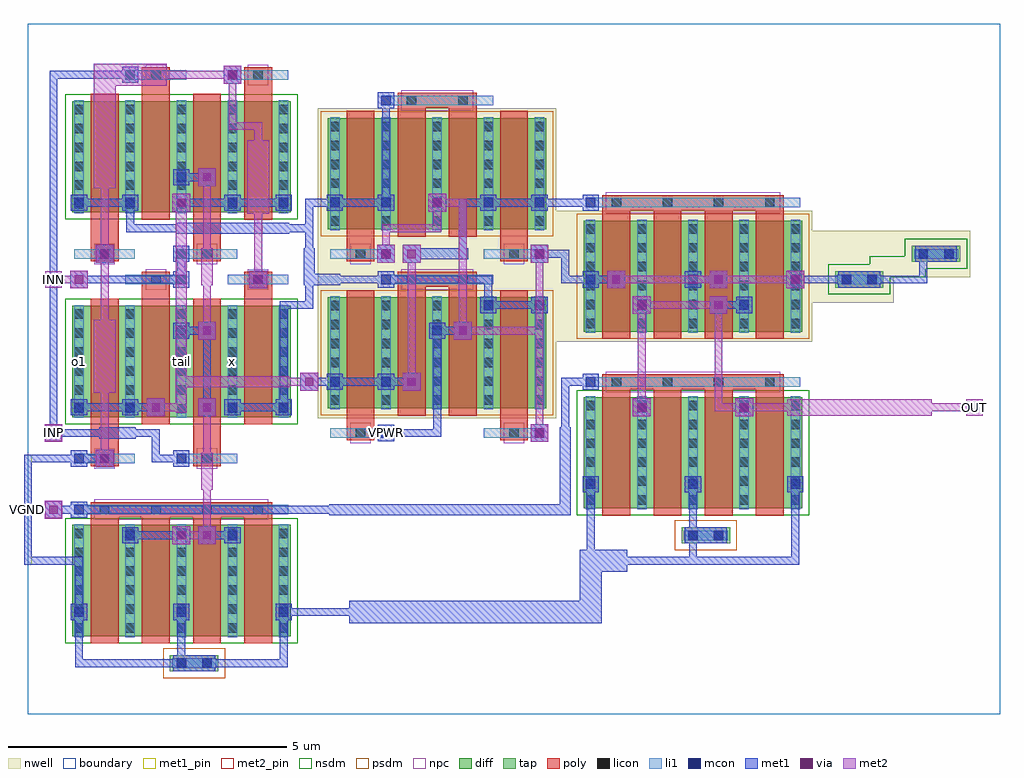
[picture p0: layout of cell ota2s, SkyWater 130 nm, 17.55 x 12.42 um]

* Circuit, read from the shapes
.subckt ota2s INN INP OUT VBN VGND VPWR o1 tail x
XM1 tail VBN VGND VGND sky130_fd_pr__nfet_01v8 w=2 l=0.5 m=4
XM2 o1 VGND o1 VGND sky130_fd_pr__nfet_01v8 w=2 l=0.5 m=2
XM3 x VGND x VGND sky130_fd_pr__nfet_01v8 w=2 l=0.5 m=2
XM4 tail INN o1 VGND sky130_fd_pr__nfet_01v8 w=2 l=0.5 m=2
XM5 tail INP x VGND sky130_fd_pr__nfet_01v8 w=2 l=0.5 m=2
XM6 OUT VBN VGND VGND sky130_fd_pr__nfet_01v8 w=2 l=0.5 m=4
XM7 o1 VPWR o1 VPWR sky130_fd_pr__pfet_01v8 w=2 l=0.5 m=2
XM8 x VPWR x VPWR sky130_fd_pr__pfet_01v8 w=2 l=0.5 m=2
XM9 VPWR x o1 VPWR sky130_fd_pr__pfet_01v8 w=2 l=0.5 m=2
XM10 VPWR x x VPWR sky130_fd_pr__pfet_01v8 w=2 l=0.5 m=2
XM11 OUT o1 VPWR VPWR sky130_fd_pr__pfet_01v8 w=2 l=0.5 m=4
.ends

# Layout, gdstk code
import gdstk
lib = gdstk.Library(unit=1e-6, precision=1e-09)
def R(c, l, rs):  # rectangles x0, y0, x1, y1
    for r in rs: c.add(gdstk.rectangle(r[:2], r[2:], *l))
def A(c, l, x, y, w, h, nx, ny, dx, dy):  # array of equal rectangles
    R(c, l, [(x+i*dx, y+j*dy, x+i*dx+w, y+j*dy+h) for i in range(nx) for j in range(ny)])
nwell = (64, 20)
diff = (65, 20)
tap = (65, 44)
poly = (66, 20)
licon = (66, 44)
li1 = (67, 20)
mcon = (67, 44)
met1_pin = (68, 16)
met1 = (68, 20)
via = (68, 44)
met2_pin = (69, 16)
met2 = (69, 20)
nsdm = (93, 44)
psdm = (94, 20)
npc = (95, 20)
boundary = (235, 4)

ota2s = lib.new_cell('ota2s')
R(ota2s, nwell, [(5.215,5.32,9.505,6.7), (5.215,6.7,14.105,7.4), (5.215,7.4,15.565,7.86), (5.215,7.86,16.945,8.7), (5.215,8.7,14.105,9.06), (5.215,9.06,9.505,10.9)])
R(ota2s, diff, [(0.795,1.405,4.725,3.405), (9.995,3.705,13.925,5.705), (0.795,5.345,4.725,7.345), (5.395,5.5,9.325,7.5), (9.995,6.88,13.925,8.88), (5.395,8.72,9.325,10.72), (0.795,9.025,4.725,11.025)])
R(ota2s, tap, [(2.555,0.775,3.425,1.065), (11.755,3.075,12.625,3.365), (14.515,7.675,15.385,7.965), (15.895,8.135,16.765,8.425)])
A(ota2s, poly, 1.13, 1.275, 0.5, 2.405, 4, 1, 0.92, 0)
A(ota2s, poly, 10.33, 3.575, 0.5, 2.405, 4, 1, 0.92, 0)
A(ota2s, poly, 10.33, 6.75, 0.5, 2.45, 4, 1, 0.92, 0)
A(ota2s, poly, 2.97, 8.145, 0.5, 0.27, 3, 1, 2.76, 0)
R(ota2s, poly, [(1.13,3.545,4.39,3.815), (1.13,4.465,1.63,4.735), (2.97,4.465,3.47,4.735), (1.13,4.6,1.63,7.475), (2.97,4.6,3.47,7.475), (5.73,4.925,6.23,5.195), (8.49,4.925,8.99,5.195), (5.73,5.06,6.23,7.63), (8.49,5.06,8.99,7.63), (2.05,5.215,2.55,7.82), (3.89,5.215,4.39,7.82), (6.65,5.37,7.15,7.82), (7.57,5.37,8.07,7.82), (10.33,5.845,13.59,6.115), (2.05,7.685,2.55,7.955), (3.89,7.685,4.39,7.955), (6.65,7.685,8.07,7.955), (1.13,8.145,1.63,8.415), (1.13,8.28,1.63,11.155), (2.97,8.28,3.47,11.155), (5.73,8.28,6.23,10.85), (8.49,8.28,8.99,10.85), (6.65,8.59,7.15,11.04), (7.57,8.59,8.07,11.04), (2.05,8.895,2.55,11.5), (3.89,8.895,4.39,11.5), (10.33,9.065,13.59,9.335), (6.65,10.905,8.07,11.175), (2.05,11.365,2.55,11.635), (3.89,11.365,4.39,11.635)])
A(ota2s, licon, 0.835, 1.47, 0.17, 0.17, 5, 6, 0.92, 0.34)
A(ota2s, licon, 1.295, 3.595, 0.17, 0.17, 4, 1, 0.92, 0)
A(ota2s, licon, 10.035, 3.77, 0.17, 0.17, 5, 6, 0.92, 0.34)
A(ota2s, licon, 0.835, 5.41, 0.17, 0.17, 5, 6, 0.92, 0.34)
A(ota2s, licon, 5.435, 5.565, 0.17, 0.17, 5, 6, 0.92, 0.34)
A(ota2s, licon, 10.495, 5.895, 0.17, 0.17, 4, 2, 0.92, 3.22)
A(ota2s, licon, 10.035, 6.945, 0.17, 0.17, 5, 6, 0.92, 0.34)
A(ota2s, licon, 3.135, 8.195, 0.17, 0.17, 3, 1, 2.76, 0)
A(ota2s, licon, 5.435, 8.785, 0.17, 0.17, 5, 6, 0.92, 0.34)
A(ota2s, licon, 0.835, 9.09, 0.17, 0.17, 5, 6, 0.92, 0.34)
R(ota2s, licon, [(2.675,0.835,2.845,1.005), (3.135,0.835,3.305,1.005), (11.875,3.135,12.045,3.305), (12.335,3.135,12.505,3.305), (1.295,4.515,1.465,4.685), (3.135,4.515,3.305,4.685), (5.895,4.975,6.065,5.145), (8.655,4.975,8.825,5.145), (2.215,7.735,2.385,7.905), (4.055,7.735,4.225,7.905), (6.815,7.735,6.985,7.905), (7.735,7.735,7.905,7.905), (14.635,7.735,14.805,7.905), (15.095,7.735,15.265,7.905), (1.295,8.195,1.465,8.365), (16.015,8.195,16.185,8.365), (16.475,8.195,16.645,8.365), (6.815,10.955,6.985,11.125), (7.735,10.955,7.905,11.125), (2.215,11.415,2.385,11.585), (4.055,11.415,4.225,11.585)])
A(ota2s, li1, 0.835, 1.39, 0.17, 2.03, 5, 2, 0.92, 3.94)
A(ota2s, li1, 10.035, 3.69, 0.17, 2.03, 5, 2, 0.92, 3.175)
A(ota2s, li1, 5.435, 5.485, 0.17, 2.03, 5, 2, 0.92, 3.22)
A(ota2s, li1, 2.675, 8.195, 1.09, 0.17, 3, 1, 2.76, 0)
A(ota2s, li1, 0.835, 9.01, 0.17, 2.03, 5, 1, 0.92, 0)
R(ota2s, li1, [(2.595,0.835,3.385,1.005), (11.795,3.135,12.585,3.305), (0.835,3.595,4.685,3.765), (0.835,4.515,1.925,4.685), (2.675,4.515,3.765,4.685), (5.435,4.975,6.525,5.145), (8.195,4.975,9.285,5.145), (10.035,5.895,13.885,6.065), (1.755,7.735,2.845,7.905), (3.595,7.735,4.685,7.905), (6.355,7.735,8.365,7.905), (14.555,7.735,15.345,7.905), (0.835,8.195,1.925,8.365), (15.935,8.195,16.725,8.365), (10.035,9.115,13.885,9.285), (6.355,10.955,8.365,11.125), (1.755,11.415,2.845,11.585), (3.595,11.415,4.685,11.585)])
A(ota2s, mcon, 0.835, 1.755, 0.17, 0.17, 3, 1, 1.84, 0)
A(ota2s, mcon, 0.835, 3.595, 0.17, 0.17, 1, 3, 0, 0.92)
A(ota2s, mcon, 10.035, 4.055, 0.17, 0.17, 3, 2, 1.84, 3.68)
A(ota2s, mcon, 9.115, 7.275, 0.17, 0.17, 3, 1, 1.84, 0)
A(ota2s, mcon, 3.595, 9.115, 0.17, 0.17, 8, 1, 0.92, 0)
R(ota2s, mcon, [(2.675,0.835,2.845,1.005), (3.135,0.835,3.305,1.005), (1.755,3.135,1.925,3.305), (3.595,3.135,3.765,3.305), (11.875,3.135,12.045,3.305), (12.335,3.135,12.505,3.305), (2.675,4.515,2.845,4.685), (6.355,4.975,6.525,5.145), (9.115,4.975,9.285,5.145), (1.755,5.435,1.925,5.605), (3.595,5.435,3.765,5.605), (4.515,5.435,4.685,5.605), (10.955,5.435,11.125,5.605), (12.795,5.435,12.965,5.605), (5.435,5.895,5.605,6.065), (6.355,5.895,6.525,6.065), (10.035,5.895,10.205,6.065), (2.675,6.815,2.845,6.985), (7.275,6.815,7.445,6.985), (8.195,7.275,8.365,7.445), (2.675,7.735,2.845,7.905), (4.055,7.735,4.225,7.905), (6.355,7.735,6.525,7.905), (14.635,7.735,14.805,7.905), (15.095,7.735,15.265,7.905), (1.295,8.195,1.465,8.365), (2.675,8.195,2.845,8.365), (6.355,8.195,6.525,8.365), (9.115,8.195,9.285,8.365), (16.015,8.195,16.185,8.365), (16.475,8.195,16.645,8.365), (0.835,9.115,1.005,9.285), (1.755,9.115,1.925,9.285), (2.675,9.575,2.845,9.745), (6.355,10.955,6.525,11.125), (1.755,11.415,1.925,11.585), (3.595,11.415,3.765,11.585)])
R(ota2s, met1_pin, [(-0.07,2.69,0.07,4.67), (6.295,4.915,6.585,5.205)])
A(ota2s, met1, 0.85, 0.85, 0.14, 1.06, 3, 1, 1.84, 0)
A(ota2s, met1, 0.775, 1.695, 0.29, 0.29, 3, 1, 1.84, 0)
A(ota2s, met1, 0.775, 3.535, 0.29, 0.29, 1, 3, 0, 0.92)
A(ota2s, met1, 9.975, 3.995, 0.29, 0.29, 3, 2, 1.84, 3.68)
A(ota2s, met1, 9.055, 7.215, 0.29, 0.29, 3, 1, 1.84, 0)
A(ota2s, met1, 3.535, 9.055, 0.29, 0.29, 8, 1, 0.92, 0)
R(ota2s, met1, [(2.615,0.775,3.365,1.065), (0.85,0.85,2.83,0.99), (2.69,0.85,4.67,0.99), (2.69,0.85,2.83,0.99), (5.78,1.64,10.32,2.04), (9.92,1.64,10.32,2.96), (0.85,1.77,0.99,2.83), (4.53,1.77,6.05,1.91), (9.92,2.56,10.78,2.96), (-0.07,2.69,0.07,4.67), (-0.07,2.69,0.99,2.83), (10.05,2.69,10.19,4.21), (10.51,2.69,12.03,2.83), (11.89,2.69,13.87,2.83), (11.89,2.69,12.03,3.29), (13.73,2.69,13.87,4.21), (2.6,3.06,2.92,3.38), (3.06,3.06,3.38,3.38), (1.695,3.075,1.985,3.365), (3.535,3.075,3.825,3.365), (11.815,3.075,12.565,3.365), (1.77,3.15,2.83,3.29), (3.15,3.15,3.75,3.29), (11.89,3.15,12.03,3.29), (11.89,3.15,12.03,4.21), (0.3,3.52,0.62,3.84), (5.42,3.58,9.76,3.78), (9.56,3.58,9.76,5.16), (0.39,3.61,0.99,3.75), (0.85,3.61,5.59,3.75), (1.22,4.44,1.54,4.76), (2.615,4.455,2.905,4.745), (-0.07,4.53,0.99,4.67), (0.85,4.53,1.45,4.67), (2.23,4.53,2.37,5.13), (2.23,4.53,2.83,4.67), (0.3,4.9,0.62,5.22), (9.04,4.9,9.36,5.22), (6.295,4.915,6.585,5.205), (9.055,4.915,9.345,5.205), (1.28,4.96,1.94,5.16), (0.39,4.99,0.53,11.57), (0.39,4.99,1.45,5.13), (1.77,4.99,2.37,5.13), (6.37,4.99,7.43,5.13), (7.29,4.99,7.43,6.97), (9.59,4.99,9.73,6.05), (2.14,5.36,2.46,5.68), (3.06,5.36,3.38,5.68), (10.88,5.36,11.2,5.68), (12.72,5.36,13.04,5.68), (1.695,5.375,1.985,5.665), (3.535,5.375,3.825,5.665), (4.455,5.375,4.745,5.665), (10.895,5.375,11.185,5.665), (12.735,5.375,13.025,5.665), (0.85,5.45,1.91,5.59), (1.77,5.45,2.37,5.59), (3.15,5.45,3.29,6.97), (3.61,5.45,4.67,5.59), (4.53,5.45,4.67,7.43), (4.9,5.82,5.22,6.14), (6.74,5.82,7.06,6.14), (5.375,5.835,5.665,6.125), (6.295,5.835,6.585,6.125), (9.975,5.835,10.265,6.125), (4.99,5.91,5.59,6.05), (5.45,5.91,6.51,6.05), (6.37,5.91,6.97,6.05), (9.59,5.91,10.19,6.05), (3.06,6.74,3.38,7.06), (7.66,6.74,7.98,7.06), (2.615,6.755,2.905,7.045), (7.215,6.755,7.505,7.045), (2.69,6.83,3.29,6.97), (7.29,6.83,7.89,6.97), (10.88,7.2,11.2,7.52), (12.26,7.2,12.58,7.52), (8.135,7.215,8.425,7.505), (4.53,7.29,5.13,7.43), (4.99,7.29,5.13,7.89), (8.21,7.29,8.35,7.89), (8.21,7.29,9.27,7.43), (12.35,7.29,12.95,7.43), (0.76,7.66,1.08,7.98), (3.98,7.66,4.3,7.98), (10.42,7.66,10.74,7.98), (12.26,7.66,12.58,7.98), (13.64,7.66,13.96,7.98), (2.615,7.675,2.905,7.965), (3.995,7.675,4.285,7.965), (6.295,7.675,6.585,7.965), (14.575,7.675,15.325,7.965), (4.96,7.72,5.62,7.92), (4.96,7.72,5.16,8.38), (0.85,7.75,2.83,7.89), (2.69,7.75,2.83,8.35), (5.45,7.75,6.51,7.89), (6.37,7.75,8.35,7.89), (9.59,7.75,9.73,8.35), (9.59,7.75,10.19,7.89), (10.05,7.75,10.65,7.89), (11.89,7.75,12.49,7.89), (13.73,7.75,14.79,7.89), (14.65,7.75,14.79,7.89), (14.65,7.75,16.17,7.89), (16.03,7.75,16.17,8.35), (1.22,8.12,1.54,8.44), (6.28,8.12,6.6,8.44), (6.74,8.12,7.06,8.44), (9.04,8.12,9.36,8.44), (1.235,8.135,1.525,8.425), (2.615,8.135,2.905,8.425), (6.295,8.135,6.585,8.425), (9.055,8.135,9.345,8.425), (15.955,8.135,16.705,8.425), (6.8,8.18,7.92,8.38), (4.99,8.21,5.13,9.27), (7.75,8.21,7.89,9.27), (9.13,8.21,9.73,8.35), (16.03,8.21,16.17,8.35), (2.66,8.64,4.7,8.84), (1.77,8.67,1.91,9.27), (1.77,8.67,2.83,8.81), (4.53,8.67,5.13,8.81), (2.6,9.04,2.92,9.36), (7.2,9.04,7.52,9.36), (0.775,9.055,1.065,9.345), (1.695,9.055,1.985,9.345), (0.85,9.13,1.91,9.27), (2.69,9.13,3.75,9.27), (3.61,9.13,4.67,9.27), (4.99,9.13,5.59,9.27), (5.45,9.13,6.51,9.27), (6.37,9.13,6.51,11.11), (7.75,9.13,8.35,9.27), (8.21,9.13,9.27,9.27), (9.13,9.13,10.19,9.27), (3.06,9.5,3.38,9.82), (2.615,9.515,2.905,9.805), (2.69,9.59,3.29,9.73), (6.295,10.895,6.585,11.185), (3.52,11.34,3.84,11.66), (1.695,11.355,1.985,11.645), (3.535,11.355,3.825,11.645), (0.39,11.43,1.91,11.57)])
R(ota2s, via, [(2.685,3.145,2.835,3.295), (3.145,3.145,3.295,3.295), (0.385,3.605,0.535,3.755), (1.305,4.525,1.455,4.675), (0.385,4.985,0.535,5.135), (9.125,4.985,9.275,5.135), (2.225,5.445,2.375,5.595), (3.145,5.445,3.295,5.595), (10.965,5.445,11.115,5.595), (12.805,5.445,12.955,5.595), (4.985,5.905,5.135,6.055), (6.825,5.905,6.975,6.055), (3.145,6.825,3.295,6.975), (7.745,6.825,7.895,6.975), (10.965,7.285,11.115,7.435), (12.345,7.285,12.495,7.435), (0.845,7.745,0.995,7.895), (4.065,7.745,4.215,7.895), (10.505,7.745,10.655,7.895), (12.345,7.745,12.495,7.895), (13.725,7.745,13.875,7.895), (1.305,8.205,1.455,8.355), (6.365,8.205,6.515,8.355), (6.825,8.205,6.975,8.355), (9.125,8.205,9.275,8.355), (2.685,9.125,2.835,9.275), (7.285,9.125,7.435,9.275), (3.145,9.585,3.295,9.735), (3.605,11.425,3.755,11.575)])
R(ota2s, met2_pin, [(0.31,3.53,0.61,3.83), (0.31,4.91,0.61,5.21), (16.87,5.37,17.17,5.67), (0.31,7.67,0.61,7.97)])
R(ota2s, met2, [(2.6,3.06,2.92,3.38), (3.06,3.06,3.38,3.38), (2.69,3.15,3.29,3.29), (3.15,3.15,3.29,4.21), (0.3,3.52,0.62,3.84), (0.31,3.53,0.61,3.83), (0.39,3.61,0.53,3.75), (3.12,4.04,3.32,4.7), (1.22,4.44,1.54,4.76), (1.31,4.53,1.45,6.05), (3.15,4.53,3.29,5.59), (0.3,4.9,0.62,5.22), (9.04,4.9,9.36,5.22), (0.31,4.91,0.61,5.21), (0.39,4.99,0.53,5.13), (9.13,4.99,9.27,8.35), (2.14,5.36,2.46,5.68), (3.06,5.36,3.38,5.68), (10.88,5.36,11.2,5.68), (12.72,5.36,13.04,5.68), (13.65,5.37,16.25,5.67), (16.87,5.37,17.17,5.67), (2.66,5.42,2.86,9.3), (2.23,5.45,2.83,5.59), (10.97,5.45,11.11,7.43), (12.35,5.45,12.95,5.59), (12.35,5.45,12.49,7.43), (12.81,5.45,13.87,5.59), (16.03,5.45,17.09,5.59), (16.95,5.45,17.09,5.59), (1.18,5.78,1.58,7.1), (4.9,5.82,5.22,6.14), (6.74,5.82,7.06,6.14), (2.66,5.88,4.7,6.08), (4.53,5.91,5.13,6.05), (6.83,5.91,6.97,8.35), (3.06,6.74,3.38,7.06), (7.66,6.74,7.98,7.06), (1.31,6.83,1.45,8.35), (3.15,6.83,3.29,7.89), (7.75,6.83,9.27,6.97), (7.75,6.83,7.89,9.27), (10.88,7.2,11.2,7.52), (12.26,7.2,12.58,7.52), (10.97,7.29,12.49,7.43), (0.76,7.66,1.08,7.98), (3.98,7.66,4.3,7.98), (10.42,7.66,10.74,7.98), (12.26,7.66,12.58,7.98), (13.64,7.66,13.96,7.98), (0.31,7.67,0.61,7.97), (3.12,7.72,3.32,8.38), (0.39,7.75,0.53,7.89), (0.39,7.75,0.99,7.89), (4.07,7.75,4.21,9.27), (10.51,7.75,12.49,7.89), (12.35,7.75,13.87,7.89), (1.22,8.12,1.54,8.44), (6.28,8.12,6.6,8.44), (6.74,8.12,7.06,8.44), (9.04,8.12,9.36,8.44), (1.31,8.21,1.45,9.73), (3.15,8.21,3.29,9.73), (6.37,8.21,6.51,8.81), (6.37,8.67,7.43,8.81), (7.29,8.67,7.43,9.27), (3.94,9,4.34,10.32), (2.6,9.04,2.92,9.36), (7.2,9.04,7.52,9.36), (7.29,9.13,7.89,9.27), (1.18,9.46,1.58,11.7), (3.06,9.5,3.38,9.82), (4.07,10.05,4.21,10.65), (3.61,10.51,4.21,10.65), (3.61,10.51,3.75,11.57), (1.18,11.3,2.5,11.7), (3.52,11.34,3.84,11.66), (2.23,11.43,3.75,11.57)])
R(ota2s, nsdm, [(0.67,1.28,4.85,3.53), (9.87,3.58,14.05,5.83), (0.67,5.22,4.85,7.47), (14.39,7.55,15.51,7.86), (14.39,7.86,16.141,8.01), (14.39,8.01,16.89,8.09), (15.139,8.09,16.89,8.24), (15.77,8.24,16.89,8.55), (0.67,8.9,4.85,11.15)])
R(ota2s, psdm, [(2.43,0.65,3.55,1.19), (11.63,2.95,12.75,3.49), (5.27,5.375,9.45,7.625), (9.87,6.755,14.05,9.005), (5.27,8.595,9.45,10.845)])
A(ota2s, npc, 3.035, 8.095, 0.37, 0.37, 3, 1, 2.76, 0)
R(ota2s, npc, [(1.195,3.495,4.325,3.865), (1.195,4.415,1.565,4.785), (3.035,4.415,3.405,4.785), (5.795,4.875,6.165,5.245), (8.555,4.875,8.925,5.245), (10.395,5.795,13.525,6.165), (2.115,7.635,2.485,8.005), (3.955,7.635,4.325,8.005), (6.715,7.635,8.005,8.005), (1.195,8.095,1.565,8.465), (10.395,9.015,13.525,9.385), (6.715,10.855,8.005,11.225), (2.115,11.315,2.485,11.685), (3.955,11.315,4.325,11.685)])
R(ota2s, boundary, [(0,0,17.48,12.42)])
ota2s.add(gdstk.Label('o1', (0.92,6.345), layer=67, texttype=5))
ota2s.add(gdstk.Label('tail', (2.76,6.345), layer=67, texttype=5))
ota2s.add(gdstk.Label('x', (3.68,6.345), layer=67, texttype=5))
ota2s.add(gdstk.Label('VPWR', (6.44,5.06), layer=68, texttype=5))
ota2s.add(gdstk.Label('VGND', (0,3.68), layer=68, texttype=5))
ota2s.add(gdstk.Label('INP', (0.46,5.06), layer=69, texttype=5))
ota2s.add(gdstk.Label('INN', (0.46,7.82), layer=69, texttype=5))
ota2s.add(gdstk.Label('VBN', (0.46,3.68), layer=69, texttype=5))
ota2s.add(gdstk.Label('OUT', (17.02,5.52), layer=69, texttype=5))
ota2s.add(gdstk.Label('VPWR', (6.44,5.06), layer=68, texttype=16))
ota2s.add(gdstk.Label('VGND', (0,3.68), layer=68, texttype=16))
ota2s.add(gdstk.Label('INP', (0.46,5.06), layer=69, texttype=16))
ota2s.add(gdstk.Label('INN', (0.46,7.82), layer=69, texttype=16))
ota2s.add(gdstk.Label('VBN', (0.46,3.68), layer=69, texttype=16))
ota2s.add(gdstk.Label('OUT', (17.02,5.52), layer=69, texttype=16))

lib.write_gds('ota2s.gds')
